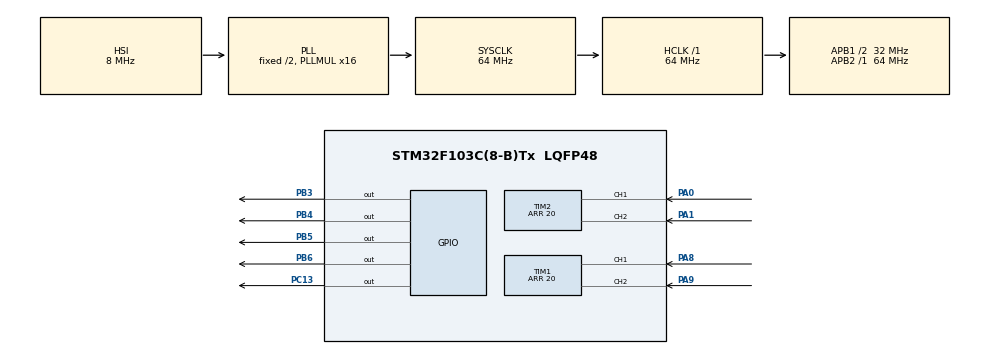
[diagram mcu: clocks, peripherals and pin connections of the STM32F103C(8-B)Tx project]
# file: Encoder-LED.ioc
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Mcu.Family=STM32F1
Mcu.Name=STM32F103C(8-B)Tx
Mcu.Package=LQFP48
NVIC.PriorityGroup=NVIC_PRIORITYGROUP_4
NVIC.TIM3_IRQn=true\:0\:0\:false\:false\:true\:true\:true\:true
PA0-WKUP.Signal=S_TIM2_CH1_ETR
PA1.Signal=S_TIM2_CH2
PA13.Mode=Serial_Wire
PA13.Signal=SYS_JTMS-SWDIO
PA14.Mode=Serial_Wire
PA14.Signal=SYS_JTCK-SWCLK
PA8.Signal=S_TIM1_CH1
PA9.Signal=S_TIM1_CH2
PB3.Signal=GPIO_Output
PB4.Signal=GPIO_Output
PB5.Signal=GPIO_Output
PB6.Signal=GPIO_Output
PC13-TAMPER-RTC.Signal=GPIO_Output
ProjectManager.HeapSize=0x200
ProjectManager.StackSize=0x400
ProjectManager.TargetToolchain=MDK-ARM V5.32
RCC.AHBFreq_Value=64000000
RCC.APB1CLKDivider=RCC_HCLK_DIV2
RCC.APB1Freq_Value=32000000
RCC.APB1TimFreq_Value=64000000
RCC.APB2Freq_Value=64000000
RCC.APB2TimFreq_Value=64000000
RCC.HCLKFreq_Value=64000000
RCC.PLLMUL=RCC_PLL_MUL16
RCC.SYSCLKFreq_VALUE=64000000
RCC.SYSCLKSource=RCC_SYSCLKSOURCE_PLLCLK
RCC.USBFreq_Value=64000000
SH.S_TIM1_CH1.0=TIM1_CH1,Encoder_Interface
SH.S_TIM1_CH2.0=TIM1_CH2,Encoder_Interface
SH.S_TIM2_CH1_ETR.0=TIM2_CH1,Encoder_Interface
SH.S_TIM2_CH2.0=TIM2_CH2,Encoder_Interface
TIM1.CounterMode=TIM_COUNTERMODE_CENTERALIGNED1
TIM1.IC1Filter=6
TIM1.IC2Filter=6
TIM1.Period=20
TIM2.CounterMode=TIM_COUNTERMODE_CENTERALIGNED1
TIM2.Period=20
TIM3.Period=10-1
TIM3.Prescaler=64000-1
VP_TIM3_VS_ClockSourceINT.Mode=Internal
board=custom

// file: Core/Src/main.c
/* USER CODE BEGIN Header */
/**
  ******************************************************************************
  * @file           : main.c
  * @brief          : Main program body
  ******************************************************************************
  * @attention
  *
  * Copyright (c) 2025 STMicroelectronics.
  * All rights reserved.
  *
  * This software is licensed under terms that can be found in the LICENSE file
  * in the root directory of this software component.
  * If no LICENSE file comes with this software, it is provided AS-IS.
  *
  ******************************************************************************
  */
/* USER CODE END Header */
#include "main.h"
#include "tim.h"
#include "gpio.h"

/* USER CODE BEGIN PV */
uint8_t Enc_Counter1 = 0;
uint8_t Enc_Counter2 = 0;
uint8_t Enc_Prev1 = 0;
uint8_t Enc_Aft1 = 0;
uint8_t Enc_Prev2 = 0;
uint8_t Enc_Aft2 = 0;
uint16_t yeslight = 0;
uint16_t nolight = 0;
/* USER CODE END PV */

void SystemClock_Config(void);

int main(void)
{

  /* MCU Configuration--------------------------------------------------------*/

  /* Reset of all peripherals, Initializes the Flash interface and the Systick. */
  HAL_Init();

  /* Configure the system clock */
  SystemClock_Config();

  /* Initialize all configured peripherals */
  MX_GPIO_Init();
  MX_TIM1_Init();
  MX_TIM3_Init();
  MX_TIM2_Init();
  /* USER CODE BEGIN 2 */

	HAL_TIM_Base_Start_IT(&htim3);
	HAL_TIM_Encoder_Start(&htim1, TIM_CHANNEL_ALL);
	HAL_TIM_Encoder_Start(&htim2, TIM_CHANNEL_ALL);

	Enc_Prev1 = TIM1->CNT;
	Enc_Aft1 = TIM1->CNT;
	Enc_Prev2 = TIM2->CNT;
	Enc_Aft2 = TIM2->CNT;
  /* USER CODE END 2 */

  /* Infinite loop */
  while (1)
  {

    /* USER CODE BEGIN 3 */
		Enc_Counter1 = TIM1->CNT;
		Enc_Counter2 = TIM2->CNT;

		Enc_Aft1 = TIM1->CNT;
		Enc_Aft2 = TIM2->CNT;
		if (yeslight >= 0)
		{
			if (Enc_Aft1 > Enc_Prev1)
			{
			yeslight = yeslight + 10;
			} else if (Enc_Aft1 < Enc_Prev1)
			{
			yeslight = yeslight - 10;
			}
		}
		else
		{
			yeslight = 0;
		}
		Enc_Prev1 = TIM1->CNT;

		if (nolight >= 0)
		{
			if (Enc_Aft2 > Enc_Prev2)
			{
			nolight = nolight + 10;
			} else if (Enc_Aft2 < Enc_Prev2)
			{
			nolight = nolight - 10;
			}
		}
		else
		{
			nolight = 0;
		}
		Enc_Prev2 = TIM2->CNT;

  }
  /* USER CODE END 3 */
}

void SystemClock_Config(void)
{
  RCC_OscInitTypeDef RCC_OscInitStruct = {0};
  RCC_ClkInitTypeDef RCC_ClkInitStruct = {0};

  /** Initializes the RCC Oscillators according to the specified parameters
  * in the RCC_OscInitTypeDef structure.
  */
  RCC_OscInitStruct.OscillatorType = RCC_OSCILLATORTYPE_HSI;
  RCC_OscInitStruct.HSIState = RCC_HSI_ON;
  RCC_OscInitStruct.HSICalibrationValue = RCC_HSICALIBRATION_DEFAULT;
  RCC_OscInitStruct.PLL.PLLState = RCC_PLL_ON;
  RCC_OscInitStruct.PLL.PLLSource = RCC_PLLSOURCE_HSI_DIV2;
  RCC_OscInitStruct.PLL.PLLMUL = RCC_PLL_MUL16;
  if (HAL_RCC_OscConfig(&RCC_OscInitStruct) != HAL_OK)
  {
    Error_Handler();
  }

  /** Initializes the CPU, AHB and APB buses clocks
  */
  RCC_ClkInitStruct.ClockType = RCC_CLOCKTYPE_HCLK|RCC_CLOCKTYPE_SYSCLK
                              |RCC_CLOCKTYPE_PCLK1|RCC_CLOCKTYPE_PCLK2;
  RCC_ClkInitStruct.SYSCLKSource = RCC_SYSCLKSOURCE_PLLCLK;
  RCC_ClkInitStruct.AHBCLKDivider = RCC_SYSCLK_DIV1;
  RCC_ClkInitStruct.APB1CLKDivider = RCC_HCLK_DIV2;
  RCC_ClkInitStruct.APB2CLKDivider = RCC_HCLK_DIV1;

  if (HAL_RCC_ClockConfig(&RCC_ClkInitStruct, FLASH_LATENCY_2) != HAL_OK)
  {
    Error_Handler();
  }
}

void Error_Handler(void)
{
  __disable_irq();
  while (1)
  {
  }
}
